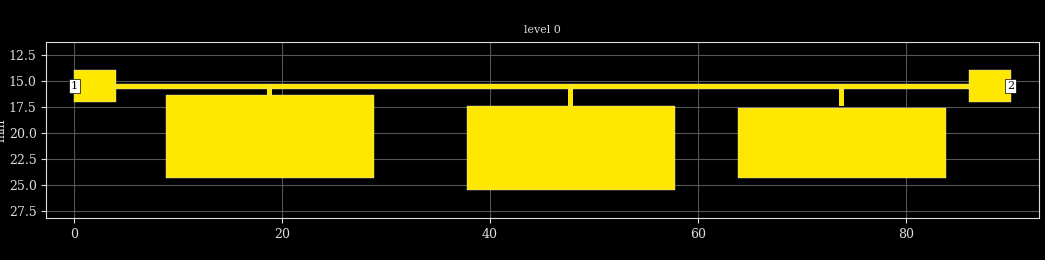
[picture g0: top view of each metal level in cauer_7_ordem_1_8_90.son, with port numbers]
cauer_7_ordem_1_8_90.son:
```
FTYP SONPROJ 13 ! Sonnet Project File
VER 15.53.lite
HEADER
LIC SL290709.106431 847bebfebdba DESKTOP-1CMJ3DP Arihe
DAT 05/14/2019 03:12:48
BUILT_BY_CREATED xgeom 15.53-Lite 04/13/2019 20:59:13
BUILT_BY_SAVED xgeom 15.53-Lite
MDATE 05/14/2019 02:13:12
HDATE 05/14/2019 02:13:12
END HEADER
DIM
FREQ GHZ
RSVY OHMM
IND NH
LNG MM
ANG DEG
CON /OH
CAP PF
RES OH
END DIM
FREQ
ABS 1.0e-9 3.0 
END FREQ
CONTROL
ABS
OPTIONS  -dj 
SPEED 0
CACHE_ABS 1
TARG_ABS 300
Q_ACC N
END CONTROL
GEO
DRP1 LEFT LINK
POLY 12 1
1
DRP1 RIGHT LINK
POLY 14 1
0
TMET "Lossless" 0 SUP 0 0 0 0
BMET "Lossless" 0 SUP 0 0 0 0
MET "Copper" 1 NOR 58000000 0 0.0347 
BOX 1 90.1 40 1802 160 20 0
      20 1 1 0 0 0 0 "Air"
      1.5306 4.1 1 0.02 0 0 0 "FR-4"
LORGN 0 40 U 
POR1 STD
POLY 12 1
3
1 50 0 0 0 3.124966952e-010 15.5125 
POR1 STD
POLY 14 1
1
2 50 0 0 0 90.1 15.5125 
NUM 12
0 5 0 N 12 1 1 100 100 0 0 0 Y
3.124966952e-010 13.9625
4.000000001 13.9625
4.000000001 17.0625
3.124966952e-010 17.0625
3.124966952e-010 13.9625
END
0 5 0 N 14 1 1 100 100 0 0 0 Y
86.1 13.9625
90.1 13.9625
90.1 17.0625
86.1 17.0625
86.1 13.9625
END
0 5 0 N 16 1 1 100 100 0 0 0 Y
3.999999999 15.2875
18.8 15.2875
18.8 15.7875
3.999999999 15.7875
3.999999999 15.2875
END
0 5 0 N 17 1 1 100 100 0 0 0 Y
19.05 15.8375
19.05 16.4375
18.55 16.4375
18.55 15.8375
19.05 15.8375
END
0 5 0 N 18 1 1 100 100 0 0 0 Y
18.8 15.2875
47.8 15.2875
47.8 15.7875
18.8 15.7875
18.8 15.2875
END
0 5 0 N 19 1 1 100 100 0 0 0 Y
47.5 15.7875
48 15.7875
48 17.4875
47.5 17.4875
47.5 15.7875
END
0 5 0 N 20 1 1 100 100 0 0 0 Y
47.8 15.2875
73.8 15.2875
73.8 15.7875
47.8 15.7875
47.8 15.2875
END
0 5 0 N 21 1 1 100 100 0 0 0 Y
74.1 15.7875
74.1 17.4875
73.6 17.4875
73.6 15.7875
74.1 15.7875
END
0 5 0 N 22 1 1 100 100 0 0 0 Y
73.8 15.2875
86.1 15.2875
86.1 15.7875
73.8 15.7875
73.8 15.2875
END
0 5 0 N 23 1 1 100 100 0 0 0 Y
28.8 16.3875
28.8 24.3875
8.8 24.3875
8.8 16.3875
28.8 16.3875
END
0 5 0 N 24 1 1 100 100 0 0 0 Y
57.75 17.4375
57.75 25.5375
37.75 25.5375
37.75 17.4375
57.75 17.4375
END
0 5 0 N 25 1 1 100 100 0 0 0 Y
83.85 17.6375
83.85 24.3375
63.85 24.3375
63.85 17.6375
83.85 17.6375
END
END GEO
OPT
MAX 100
VARS
END
END OPT
VARSWP
END VARSWP
QSG
IMPORT NO
EXTRA_METAL NO
UNITS YES
ALIGN NO
REF NO
VIEW_RES NO
METALS YES
USED NO
END QSG
```
